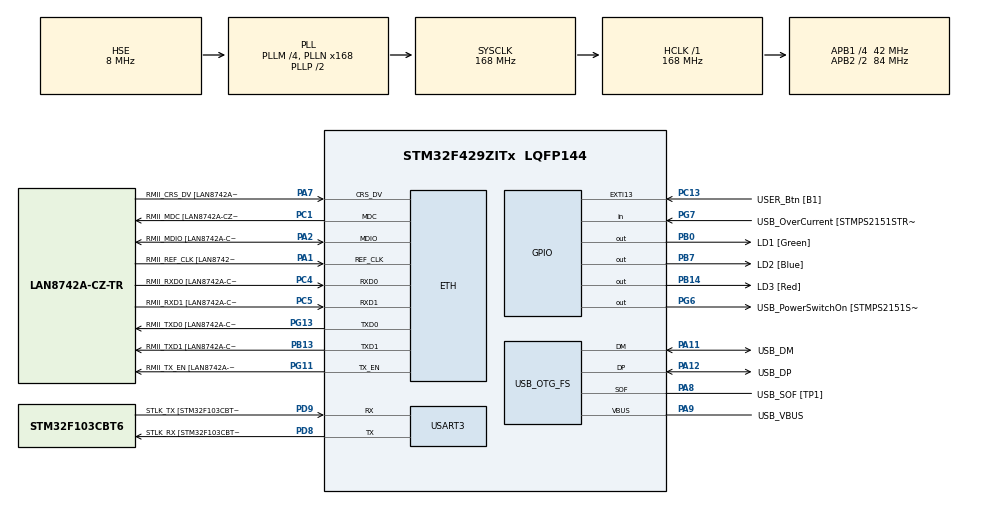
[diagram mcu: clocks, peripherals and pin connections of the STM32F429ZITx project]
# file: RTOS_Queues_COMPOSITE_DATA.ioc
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ETH.MediaInterface=HAL_ETH_RMII_MODE
ETH.PHY_Name=LAN8742A_PHY_ADDRESS
ETH.PHY_Value=0
ETH.PhyAddress=0
FREERTOS.Tasks01=TransmitTask1,24,128,StartTransmitTask1,Default,NULL,Dynamic,NULL,NULL;TransmitTask2,8,128,StartTransmitTask2,Default,NULL,Dynamic,NULL,NULL;ReceiveTask,8,128,StartReceiveTask,Default,NULL,Dynamic,NULL,NULL
FREERTOS.configGENERATE_RUN_TIME_STATS=1
FREERTOS.configUSE_NEWLIB_REENTRANT=1
FREERTOS.configUSE_STATS_FORMATTING_FUNCTIONS=1
Mcu.Family=STM32F4
Mcu.Name=STM32F429ZITx
Mcu.Package=LQFP144
NVIC.PriorityGroup=NVIC_PRIORITYGROUP_4
NVIC.TIM6_DAC_IRQn=true\:15\:0\:false\:false\:true\:false\:false\:true\:true
NVIC.TimeBase=TIM6_DAC_IRQn
NVIC.TimeBaseIP=TIM6
PA1.GPIO_Label=RMII_REF_CLK [LAN8742A-CZ-TR_REFCLK0]
PA1.Mode=RMII
PA1.Signal=ETH_REF_CLK
PA10.GPIO_Label=USB_ID
PA10.Signal=USB_OTG_FS_ID
PA11.GPIO_Label=USB_DM
PA11.Mode=Device_Only
PA11.Signal=USB_OTG_FS_DM
PA12.GPIO_Label=USB_DP
PA12.Mode=Device_Only
PA12.Signal=USB_OTG_FS_DP
PA13.GPIO_Label=TMS
PA13.Mode=Serial_Wire
PA13.Signal=SYS_JTMS-SWDIO
PA14.GPIO_Label=TCK
PA14.Mode=Serial_Wire
PA14.Signal=SYS_JTCK-SWCLK
PA2.GPIO_Label=RMII_MDIO [LAN8742A-CZ-TR_MDIO]
PA2.Mode=RMII
PA2.Signal=ETH_MDIO
PA7.GPIO_Label=RMII_CRS_DV [LAN8742A-CZ-TR_CRS_DV]
PA7.Mode=RMII
PA7.Signal=ETH_CRS_DV
PA8.GPIO_Label=USB_SOF [TP1]
PA8.Mode=Activate_SOF_FS
PA8.Signal=USB_OTG_FS_SOF
PA9.GPIO_Label=USB_VBUS
PA9.Mode=Activate_VBUS
PA9.Signal=USB_OTG_FS_VBUS
PB0.GPIO_Label=LD1 [Green]
PB0.Signal=GPIO_Output
PB13.GPIO_Label=RMII_TXD1 [LAN8742A-CZ-TR_TXD1]
PB13.Mode=RMII
PB13.Signal=ETH_TXD1
PB14.GPIO_Label=LD3 [Red]
PB14.Signal=GPIO_Output
PB7.GPIO_Label=LD2 [Blue]
PB7.Signal=GPIO_Output
PC1.GPIO_Label=RMII_MDC [LAN8742A-CZ-TR_MDC]
PC1.Mode=RMII
PC1.Signal=ETH_MDC
PC13.GPIO_Label=USER_Btn [B1]
PC13.Signal=GPXTI13
PC14/OSC32_IN.Mode=LSE-External-Oscillator
PC14/OSC32_IN.Signal=RCC_OSC32_IN
PC15/OSC32_OUT.Mode=LSE-External-Oscillator
PC15/OSC32_OUT.Signal=RCC_OSC32_OUT
PC4.GPIO_Label=RMII_RXD0 [LAN8742A-CZ-TR_RXD0]
PC4.Mode=RMII
PC4.Signal=ETH_RXD0
PC5.GPIO_Label=RMII_RXD1 [LAN8742A-CZ-TR_RXD1]
PC5.Mode=RMII
PC5.Signal=ETH_RXD1
PD8.GPIO_Label=STLK_RX [STM32F103CBT6_PA3]
PD8.Mode=Asynchronous
PD8.Signal=USART3_TX
PD9.GPIO_Label=STLK_TX [STM32F103CBT6_PA2]
PD9.Mode=Asynchronous
PD9.Signal=USART3_RX
PG11.GPIO_Label=RMII_TX_EN [LAN8742A-CZ-TR_TXEN]
PG11.Mode=RMII
PG11.Signal=ETH_TX_EN
PG13.GPIO_Label=RMII_TXD0 [LAN8742A-CZ-TR_TXD0]
PG13.Mode=RMII
PG13.Signal=ETH_TXD0
PG6.GPIO_Label=USB_PowerSwitchOn [STMPS2151STR_EN]
PG6.Signal=GPIO_Output
PG7.GPIO_Label=USB_OverCurrent [STMPS2151STR_FAULT]
PG7.Signal=GPIO_Input
PH0/OSC_IN.GPIO_Label=MCO [STM32F103CBT6_PA8]
PH0/OSC_IN.Mode=HSE-External-Clock-Source
PH0/OSC_IN.Signal=RCC_OSC_IN
PH1/OSC_OUT.Mode=HSE-External-Clock-Source
PH1/OSC_OUT.Signal=RCC_OSC_OUT
ProjectManager.HeapSize=0x200
ProjectManager.StackSize=0x400
ProjectManager.TargetToolchain=STM32CubeIDE
RCC.48MHZClocksFreq_Value=48000000
RCC.AHBFreq_Value=168000000
RCC.APB1CLKDivider=RCC_HCLK_DIV4
RCC.APB1Freq_Value=42000000
RCC.APB1TimFreq_Value=84000000
RCC.APB2CLKDivider=RCC_HCLK_DIV2
RCC.APB2Freq_Value=84000000
RCC.APB2TimCLKDivider=2
RCC.APB2TimFreq_Value=168000000
RCC.CortexFreq_Value=168000000
RCC.HCLKFreq_Value=168000000
RCC.HSE_VALUE=8000000
RCC.HSI_VALUE=16000000
RCC.PLLM=4
RCC.PLLMUL=RCC_PLL_MUL9
RCC.PLLN=168
RCC.PLLQ=7
RCC.PRESCALERUSB=RCC_USBCLKSOURCE_PLL_DIV1_5
RCC.SYSCLKFreq_VALUE=168000000
RCC.SYSCLKSource=RCC_SYSCLKSOURCE_PLLCLK
RCC.SYSCLKSourceVirtual=RCC_SYSCLKSOURCE_PLLCLK
RCC.USBFreq_Value=48000000
RCC.VCOOutputFreq_Value=336000000
USART3.VirtualMode=VM_ASYNC
USB_OTG_FS.VirtualMode=Device_Only
VP_FREERTOS_VS_CMSIS_V2.Mode=CMSIS_V2
VP_RNG_VS_RNG.Mode=RNG_Activate
VP_SYS_VS_tim6.Mode=TIM6
board=NUCLEO-F429ZI

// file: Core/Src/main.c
/* USER CODE BEGIN Header */
/**
 ******************************************************************************
 * @file           : main.c
 * @brief          : Main program body
 ******************************************************************************
 * @attention
 *
 * Copyright (c) 2025 STMicroelectronics.
 * All rights reserved.
 *
 * This software is licensed under terms that can be found in the LICENSE file
 * in the root directory of this software component.
 * If no LICENSE file comes with this software, it is provided AS-IS.
 *
 ******************************************************************************
 */
/* USER CODE END Header */
#include "main.h"
#include "string.h"
#include "cmsis_os.h"
#include "queue.h"

/* USER CODE BEGIN Includes */
#include "SEGGER_RTT.h"
/* USER CODE END Includes */

/* USER CODE BEGIN PTD */
typedef struct{
	uint8_t id;
	uint8_t led1;
	uint8_t led2;
	uint8_t led3;
	char msg[20];
	uint8_t delay;
}queueTask;
/* USER CODE END PTD */

ETH_TxPacketConfig TxConfig;
ETH_DMADescTypeDef  DMARxDscrTab[ETH_RX_DESC_CNT]; /* Ethernet Rx DMA Descriptors */
ETH_DMADescTypeDef  DMATxDscrTab[ETH_TX_DESC_CNT]; /* Ethernet Tx DMA Descriptors */

ETH_HandleTypeDef heth;

RNG_HandleTypeDef hrng;

UART_HandleTypeDef huart3;

PCD_HandleTypeDef hpcd_USB_OTG_FS;
QueueHandle_t myQueue;

/* Definitions for TransmitTask1 */
osThreadId_t TransmitTask1Handle;
const osThreadAttr_t TransmitTask1_attributes = {
  .name = "TransmitTask1",
  .stack_size = 128 * 4,
  .priority = (osPriority_t) osPriorityNormal,
};
/* Definitions for TransmitTask2 */
osThreadId_t TransmitTask2Handle;
const osThreadAttr_t TransmitTask2_attributes = {
  .name = "TransmitTask2",
  .stack_size = 128 * 4,
  .priority = (osPriority_t) osPriorityLow,
};
/* Definitions for ReceiveTask */
osThreadId_t ReceiveTaskHandle;
const osThreadAttr_t ReceiveTask_attributes = {
  .name = "ReceiveTask",
  .stack_size = 128 * 4,
  .priority = (osPriority_t) osPriorityLow,
};

void SystemClock_Config(void);
static void MX_GPIO_Init(void);
static void MX_ETH_Init(void);
static void MX_USART3_UART_Init(void);
static void MX_USB_OTG_FS_PCD_Init(void);
static void MX_RNG_Init(void);
void StartTransmitTask1(void *argument);
void StartTransmitTask2(void *argument);
void StartReceiveTask(void *argument);

/* USER CODE BEGIN PFP */
void RTT_Read(void);
/* USER CODE END PFP */

int main(void)
{

  /* MCU Configuration--------------------------------------------------------*/

  /* Reset of all peripherals, Initializes the Flash interface and the Systick. */
  HAL_Init();

  /* Configure the system clock */
  SystemClock_Config();

  /* Initialize all configured peripherals */
  MX_GPIO_Init();
  MX_ETH_Init();
  MX_USART3_UART_Init();
  MX_USB_OTG_FS_PCD_Init();
  MX_RNG_Init();
  /* USER CODE BEGIN 2 */
	SEGGER_RTT_ConfigUpBuffer(0, NULL, NULL, 0, SEGGER_RTT_MODE_NO_BLOCK_SKIP);
	SEGGER_RTT_printf(0,"Starting... \r\n");
  /* USER CODE END 2 */

  /* Init scheduler */
  osKernelInitialize();

  /* USER CODE BEGIN RTOS_QUEUES */
	/* add queues, ... */
  myQueue = xQueueCreate(8, sizeof(queueTask));
  vQueueAddToRegistry(myQueue, "myQueue");

  /* USER CODE END RTOS_QUEUES */

  /* Create the thread(s) */
  /* creation of TransmitTask1 */
  TransmitTask1Handle = osThreadNew(StartTransmitTask1, NULL, &TransmitTask1_attributes);

  /* creation of TransmitTask2 */
  TransmitTask2Handle = osThreadNew(StartTransmitTask2, NULL, &TransmitTask2_attributes);

  /* creation of ReceiveTask */
  ReceiveTaskHandle = osThreadNew(StartReceiveTask, NULL, &ReceiveTask_attributes);

  /* Start scheduler */
  osKernelStart();

  /* We should never get here as control is now taken by the scheduler */
  /* Infinite loop */
	while (1)
	{

	}
}

void SystemClock_Config(void)
{
  RCC_OscInitTypeDef RCC_OscInitStruct = {0};
  RCC_ClkInitTypeDef RCC_ClkInitStruct = {0};

  /** Configure the main internal regulator output voltage
  */
  __HAL_RCC_PWR_CLK_ENABLE();
  __HAL_PWR_VOLTAGESCALING_CONFIG(PWR_REGULATOR_VOLTAGE_SCALE1);

  /** Initializes the RCC Oscillators according to the specified parameters
  * in the RCC_OscInitTypeDef structure.
  */
  RCC_OscInitStruct.OscillatorType = RCC_OSCILLATORTYPE_HSE;
  RCC_OscInitStruct.HSEState = RCC_HSE_BYPASS;
  RCC_OscInitStruct.PLL.PLLState = RCC_PLL_ON;
  RCC_OscInitStruct.PLL.PLLSource = RCC_PLLSOURCE_HSE;
  RCC_OscInitStruct.PLL.PLLM = 4;
  RCC_OscInitStruct.PLL.PLLN = 168;
  RCC_OscInitStruct.PLL.PLLP = RCC_PLLP_DIV2;
  RCC_OscInitStruct.PLL.PLLQ = 7;
  if (HAL_RCC_OscConfig(&RCC_OscInitStruct) != HAL_OK)
  {
    Error_Handler();
  }

  /** Initializes the CPU, AHB and APB buses clocks
  */
  RCC_ClkInitStruct.ClockType = RCC_CLOCKTYPE_HCLK|RCC_CLOCKTYPE_SYSCLK
                              |RCC_CLOCKTYPE_PCLK1|RCC_CLOCKTYPE_PCLK2;
  RCC_ClkInitStruct.SYSCLKSource = RCC_SYSCLKSOURCE_PLLCLK;
  RCC_ClkInitStruct.AHBCLKDivider = RCC_SYSCLK_DIV1;
  RCC_ClkInitStruct.APB1CLKDivider = RCC_HCLK_DIV4;
  RCC_ClkInitStruct.APB2CLKDivider = RCC_HCLK_DIV2;

  if (HAL_RCC_ClockConfig(&RCC_ClkInitStruct, FLASH_LATENCY_5) != HAL_OK)
  {
    Error_Handler();
  }
}

static void MX_ETH_Init(void)
{

   static uint8_t MACAddr[6];

  heth.Instance = ETH;
  MACAddr[0] = 0x00;
  MACAddr[1] = 0x80;
  MACAddr[2] = 0xE1;
  MACAddr[3] = 0x00;
  MACAddr[4] = 0x00;
  MACAddr[5] = 0x00;
  heth.Init.MACAddr = &MACAddr[0];
  heth.Init.MediaInterface = HAL_ETH_RMII_MODE;
  heth.Init.TxDesc = DMATxDscrTab;
  heth.Init.RxDesc = DMARxDscrTab;
  heth.Init.RxBuffLen = 1524;

  if (HAL_ETH_Init(&heth) != HAL_OK)
  {
    Error_Handler();
  }

  memset(&TxConfig, 0 , sizeof(ETH_TxPacketConfig));
  TxConfig.Attributes = ETH_TX_PACKETS_FEATURES_CSUM | ETH_TX_PACKETS_FEATURES_CRCPAD;
  TxConfig.ChecksumCtrl = ETH_CHECKSUM_IPHDR_PAYLOAD_INSERT_PHDR_CALC;
  TxConfig.CRCPadCtrl = ETH_CRC_PAD_INSERT;

}

static void MX_RNG_Init(void)
{

  hrng.Instance = RNG;
  if (HAL_RNG_Init(&hrng) != HAL_OK)
  {
    Error_Handler();
  }

}

static void MX_USART3_UART_Init(void)
{

  huart3.Instance = USART3;
  huart3.Init.BaudRate = 115200;
  huart3.Init.WordLength = UART_WORDLENGTH_8B;
  huart3.Init.StopBits = UART_STOPBITS_1;
  huart3.Init.Parity = UART_PARITY_NONE;
  huart3.Init.Mode = UART_MODE_TX_RX;
  huart3.Init.HwFlowCtl = UART_HWCONTROL_NONE;
  huart3.Init.OverSampling = UART_OVERSAMPLING_16;
  if (HAL_UART_Init(&huart3) != HAL_OK)
  {
    Error_Handler();
  }

}

static void MX_USB_OTG_FS_PCD_Init(void)
{

  hpcd_USB_OTG_FS.Instance = USB_OTG_FS;
  hpcd_USB_OTG_FS.Init.dev_endpoints = 4;
  hpcd_USB_OTG_FS.Init.speed = PCD_SPEED_FULL;
  hpcd_USB_OTG_FS.Init.dma_enable = DISABLE;
  hpcd_USB_OTG_FS.Init.phy_itface = PCD_PHY_EMBEDDED;
  hpcd_USB_OTG_FS.Init.Sof_enable = ENABLE;
  hpcd_USB_OTG_FS.Init.low_power_enable = DISABLE;
  hpcd_USB_OTG_FS.Init.lpm_enable = DISABLE;
  hpcd_USB_OTG_FS.Init.vbus_sensing_enable = ENABLE;
  hpcd_USB_OTG_FS.Init.use_dedicated_ep1 = DISABLE;
  if (HAL_PCD_Init(&hpcd_USB_OTG_FS) != HAL_OK)
  {
    Error_Handler();
  }

}

static void MX_GPIO_Init(void)
{
  GPIO_InitTypeDef GPIO_InitStruct = {0};

  /* GPIO Ports Clock Enable */
  __HAL_RCC_GPIOC_CLK_ENABLE();
  __HAL_RCC_GPIOH_CLK_ENABLE();
  __HAL_RCC_GPIOA_CLK_ENABLE();
  __HAL_RCC_GPIOB_CLK_ENABLE();
  __HAL_RCC_GPIOD_CLK_ENABLE();
  __HAL_RCC_GPIOG_CLK_ENABLE();

  /*Configure GPIO pin Output Level */
  HAL_GPIO_WritePin(GPIOB, LD1_Pin|LD3_Pin|LD2_Pin, GPIO_PIN_RESET);

  /*Configure GPIO pin Output Level */
  HAL_GPIO_WritePin(USB_PowerSwitchOn_GPIO_Port, USB_PowerSwitchOn_Pin, GPIO_PIN_RESET);

  /*Configure GPIO pin : USER_Btn_Pin */
  GPIO_InitStruct.Pin = USER_Btn_Pin;
  GPIO_InitStruct.Mode = GPIO_MODE_IT_RISING;
  GPIO_InitStruct.Pull = GPIO_NOPULL;
  HAL_GPIO_Init(USER_Btn_GPIO_Port, &GPIO_InitStruct);

  /*Configure GPIO pins : LD1_Pin LD3_Pin LD2_Pin */
  GPIO_InitStruct.Pin = LD1_Pin|LD3_Pin|LD2_Pin;
  GPIO_InitStruct.Mode = GPIO_MODE_OUTPUT_PP;
  GPIO_InitStruct.Pull = GPIO_NOPULL;
  GPIO_InitStruct.Speed = GPIO_SPEED_FREQ_LOW;
  HAL_GPIO_Init(GPIOB, &GPIO_InitStruct);

  /*Configure GPIO pin : USB_PowerSwitchOn_Pin */
  GPIO_InitStruct.Pin = USB_PowerSwitchOn_Pin;
  GPIO_InitStruct.Mode = GPIO_MODE_OUTPUT_PP;
  GPIO_InitStruct.Pull = GPIO_NOPULL;
  GPIO_InitStruct.Speed = GPIO_SPEED_FREQ_LOW;
  HAL_GPIO_Init(USB_PowerSwitchOn_GPIO_Port, &GPIO_InitStruct);

  /*Configure GPIO pin : USB_OverCurrent_Pin */
  GPIO_InitStruct.Pin = USB_OverCurrent_Pin;
  GPIO_InitStruct.Mode = GPIO_MODE_INPUT;
  GPIO_InitStruct.Pull = GPIO_NOPULL;
  HAL_GPIO_Init(USB_OverCurrent_GPIO_Port, &GPIO_InitStruct);

}

/* USER CODE BEGIN 4 */
void RTT_Read(void){
	char input;
	uint32_t size = SEGGER_RTT_Read(0, &input, 1u);
	if (size > 0){
		SEGGER_RTT_printf(0, "%c", input);
	}
}
/* USER CODE END 4 */

void StartTransmitTask1(void *argument)
{
  /* USER CODE BEGIN 5 */
	queueTask *task1 = pvPortMalloc(sizeof(queueTask));
		task1->id = 1;
		task1->led1 = 1;
		task1->led2 = 0;
		task1->led3 = 1;
		strcpy(task1->msg, "Transmitter 1");
		task1->delay = 1;
	uint32_t rnd = 10000;
	/* Infinite loop */
	for(;;)
	{
		HAL_RNG_GenerateRandomNumber(&hrng, &rnd);
		task1->delay = rnd%10000;
		queueTask* rTask = task1;	// use to pass by reference.
		if (xQueueSend(myQueue, &task1, 0) != pdPASS){
			SEGGER_RTT_printf(0, "TX1 error: %s is full (Task%d not sent)!\r\n", pcQueueGetName(myQueue), task1->id);;  // xQueueSend(queueHandle, void* pvItemToQueue, xTickstoWait)
		}
		else SEGGER_RTT_printf(0, "TX1: Task%d not sent\r\n", task1->id);
		SEGGER_RTT_printf(0, "DELAY1: %d\r\n", task1->delay);
		osDelay(task1->delay);
	}
  /* USER CODE END 5 */
}

void StartTransmitTask2(void *argument)
{
  /* USER CODE BEGIN StartTransmitTask2 */
	queueTask *task2 = pvPortMalloc(sizeof(queueTask));
		task2->id = 1;
		task2->led1 = 0;
		task2->led2 = 1;
		task2->led3 = 0;
		strcpy(task2->msg, "Transmitter 2");
		task2->delay = 1;
	uint32_t rnd = 10000;
	/* Infinite loop */
	for(;;)
	{
		HAL_RNG_GenerateRandomNumber(&hrng, &rnd);
		task2->delay = rnd%10000;
		queueTask* rTask = task2;
		if (xQueueSend(myQueue, &task2, 0) != pdPASS){
			SEGGER_RTT_printf(0, "TX2 error: %s is full (Task%d not sent from %s)!\r\n", pcQueueGetName(myQueue), task2->id, task2->msg);;  // xQueueSend(queueHandle, void* pvItemToQueue, xTickstoWait)
		}
		else SEGGER_RTT_printf(0, "TX2: Task%d not sent from %s\r\n", task2->id, task2->msg);
		SEGGER_RTT_printf(0, "DELAY2: %d\r\n", task2->delay);
		osDelay(task2->delay);
	}
  /* USER CODE END StartTransmitTask2 */
}

void StartReceiveTask(void *argument)
{
  /* USER CODE BEGIN StartReceiveTask */
	//QUEUE DATA:
	queueTask* rTask;
	/* Infinite loop */
	for(;;)
	{
		if (xQueueReceive(myQueue, &rTask, 100) != pdPASS){
			SEGGER_RTT_printf(0, "RX ERROR: %s is empty\r\n", pcQueueGetName(myQueue));
		}
		else {
			SEGGER_RTT_printf(0, "RX: from %s with source ID: %d\r\n", rTask->msg, rTask->id);
			HAL_GPIO_WritePin(GPIOB, GPIO_PIN_0, rTask->led1);	// Green LED1
			HAL_GPIO_WritePin(GPIOB, GPIO_PIN_7, rTask->led2);	// Blue LED2
			HAL_GPIO_WritePin(GPIOB, GPIO_PIN_14, rTask->led3);	// Red LED3
		}
		osDelay(1000);
	}
  /* USER CODE END StartReceiveTask */
}

void HAL_TIM_PeriodElapsedCallback(TIM_HandleTypeDef *htim)
{
  if (htim->Instance == TIM6) {
    HAL_IncTick();
  }
}

void Error_Handler(void)
{
	__disable_irq();
	while (1)
	{
	}
}
